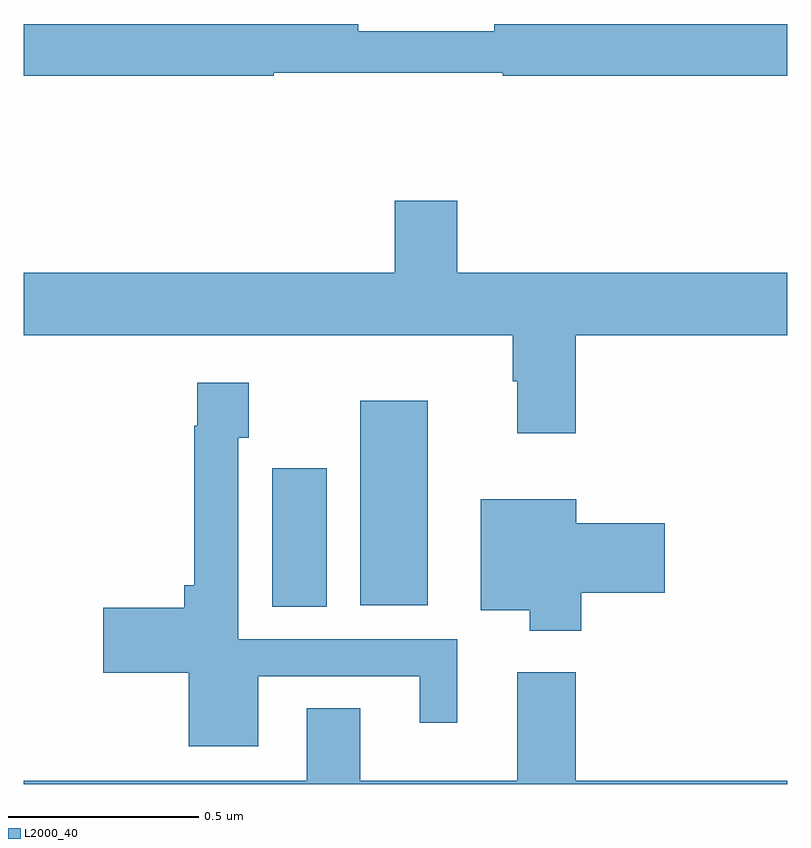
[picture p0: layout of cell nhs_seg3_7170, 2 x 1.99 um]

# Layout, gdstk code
import gdstk
lib = gdstk.Library(unit=1e-6, precision=1e-09)
def R(c, l, rs):  # rectangles x0, y0, x1, y1
    for r in rs: c.add(gdstk.rectangle(r[:2], r[2:], *l))
def P(c, l, *ps):  # polygons
    for p in ps: c.add(gdstk.Polygon(p, *l))
L2000_40 = (2000, 40)

nhs_seg3_7170 = lib.new_cell('nhs_seg3_7170')
R(nhs_seg3_7170, L2000_40, [(200.651,706.864,200.794,707.227), (200.882,706.868,201.058,707.404)])
P(nhs_seg3_7170, L2000_40, [(200.655,708.264),(201.255,708.264),(201.255,708.256),(202,708.256),(202,708.392),(201.232,708.392),(201.232,708.373),(200.876,708.373),(200.876,708.392),(200,708.392),(200,708.256),(200.655,708.256)],
  [(201.136,707.929),(200.972,707.929),(200.972,707.74),(200,707.74),(200,707.576),(201.281,707.576),(201.281,707.456),(201.293,707.456),(201.293,707.319),(201.446,707.319),(201.446,707.576),(202,707.576),(202,707.74),(201.136,707.74)],
  [(200.614,706.683),(201.038,706.683),(201.038,706.56),(201.136,706.56),(201.136,706.779),(200.562,706.779),(200.562,707.307),(200.589,707.307),(200.589,707.452),(200.454,707.452),(200.454,707.339),(200.446,707.339),(200.446,706.921),(200.42,706.921),(200.42,706.862),(200.208,706.862),(200.208,706.691),(200.432,706.691),(200.432,706.499),(200.614,706.499)],
  [(201.461,706.901),(201.679,706.901),(201.679,707.084),(201.448,707.084),(201.448,707.146),(201.197,707.146),(201.197,706.856),(201.326,706.856),(201.326,706.802),(201.461,706.802)],
  [(202,706.408),(201.446,706.408),(201.446,706.693),(201.293,706.693),(201.293,706.408),(200.881,706.408),(200.881,706.598),(200.741,706.598),(200.741,706.408),(200,706.408),(200,706.4),(202,706.4)])

lib.write_gds('nhs_seg3_7170.gds')
